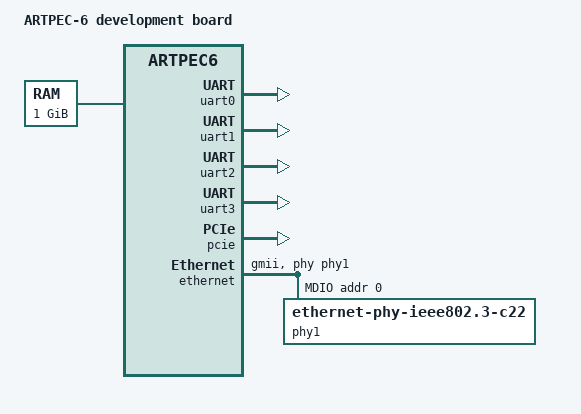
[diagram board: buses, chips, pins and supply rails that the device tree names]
// SPDX-License-Identifier: GPL-2.0-only
// Axis ARTPEC-6 development board.

/dts-v1/;
#include "artpec6.dtsi"

/ {
	model = "ARTPEC-6 development board";
	compatible = "axis,artpec6-dev-board", "axis,artpec6";

	aliases {
		serial0 = &uart0;
		serial1 = &uart1;
		serial2 = &uart2;
		serial3 = &uart3;
	};

	chosen {
		stdout-path = "serial3:115200n8";
	};

	memory {
		device_type = "memory";
		reg = <0x0 0x40000000>;
	};
};

&uart0 {
	status = "okay";
};

&uart1 {
	status = "okay";
};

&uart2 {
	status = "okay";
};

&uart3 {
	status = "okay";
};

&pcie {
	status = "okay";
};

&ethernet {
	status = "okay";

	phy-handle = <&phy1>;
	phy-mode = "gmii";

	mdio {
		#address-cells = <0x1>;
		#size-cells = <0x0>;
		compatible = "snps,dwmac-mdio";
		phy1: phy@0 {
			compatible = "ethernet-phy-ieee802.3-c22";
			device_type = "ethernet-phy";
			reg = <0x0>;
		};
	};
};
